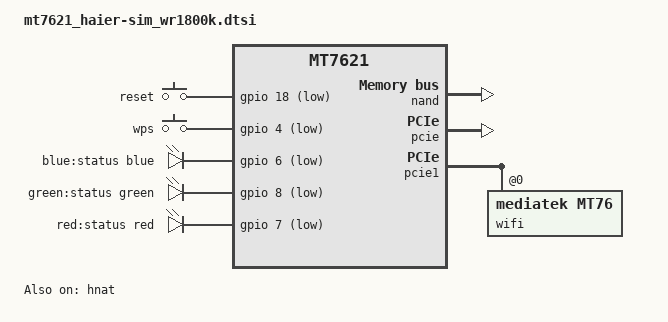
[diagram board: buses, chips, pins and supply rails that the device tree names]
// SPDX-License-Identifier: GPL-2.0-or-later OR MIT

#include "mt7621.dtsi"

#include <dt-bindings/gpio/gpio.h>
#include <dt-bindings/input/input.h>
#include <dt-bindings/leds/common.h>

/ {
	aliases {
		label-mac-device = &gmac1;
		led-boot = &led_status_red;
		led-failsafe = &led_status_blue;
		led-running = &led_status_green;
		led-upgrade = &led_status_blue;
	};

	chosen {
		bootargs = "console=ttyS0,115200";
		bootargs-override = "console=ttyS0,115200";
	};

	keys {
		compatible = "gpio-keys";

		reset {
			label = "reset";
			gpios = <&gpio 18 GPIO_ACTIVE_LOW>;
			linux,code = <KEY_RESTART>;
		};

		wps {
			label = "wps";
			gpios = <&gpio 4 GPIO_ACTIVE_LOW>;
			linux,code = <KEY_WPS_BUTTON>;
		};
	};

	leds {
		compatible = "gpio-leds";

		led_status_blue: led-0 {
			label = "blue:status";
			color = <LED_COLOR_ID_BLUE>;
			function = LED_FUNCTION_STATUS;
			gpios = <&gpio 6 GPIO_ACTIVE_LOW>;
		};

		led_status_green: led-1 {
			label = "green:status";
			color = <LED_COLOR_ID_GREEN>;
			function = LED_FUNCTION_STATUS;
			gpios = <&gpio 8 GPIO_ACTIVE_LOW>;
		};

		led_status_red: led-2 {
			label = "red:status";
			color = <LED_COLOR_ID_RED>;
			function = LED_FUNCTION_STATUS;
			gpios = <&gpio 7 GPIO_ACTIVE_LOW>;
		};
	};
};

&nand {
	status = "okay";

	partitions {
		compatible = "fixed-partitions";
		#address-cells = <1>;
		#size-cells = <1>;

		partition@0 {
			label = "u-boot";
			reg = <0x0000000 0x0080000>;
			read-only;
		};

		partition@80000 {
			label = "u-boot-env";
			reg = <0x0080000 0x0080000>;
		};

		factory: partition@100000 {
			label = "factory";
			reg = <0x0100000 0x0080000>;
			read-only;

			compatible = "nvmem-cells";
			#address-cells = <1>;
			#size-cells = <1>;

			macaddr_factory_8004: macaddr@8004 {
				reg = <0x8004 0x6>;
			};
		};

		partition@180000 {
			label = "firmware";
			reg = <0x0180000 0x7a80000>;

			compatible = "fixed-partitions";
			#address-cells = <1>;
			#size-cells = <1>;

			partition@0 {
				label = "kernel";
				reg = <0x0000000 0x0400000>;
			};

			partition@400000 {
				label = "ubi";
				reg = <0x0400000 0x7680000>;
			};
		};

		/* last 128KiB *32 is reserved for bad blocks management */
	};
};

&pcie {
	status = "okay";
};

&pcie1 {
	wifi@0,0 {
		compatible = "mediatek,mt76";
		reg = <0x0000 0 0 0 0>;
		mediatek,mtd-eeprom = <&factory 0x0>;
	};
};

&pcie2 {
	status = "disabled";
};

&gmac0 {
	nvmem-cells = <&macaddr_factory_8004>;
	nvmem-cell-names = "mac-address";
};

&gmac1 {
	nvmem-cells = <&macaddr_factory_8004>;
	nvmem-cell-names = "mac-address";
	mac-address-increment = <(-3)>;
};

&gsw {
	mediatek,mdio = <&mdio>;
	mediatek,portmap = "llllw";
	mediatek,mcm;
	mt7530,direct-phy-access;

	resets = <&rstctrl 2>;
	reset-names = "mcm";

	port5: port@5 {
		compatible = "mediatek,mt753x-port";
		reg = <5>;
		phy-mode = "rgmii";
		fixed-link {
			speed = <1000>;
			full-duplex;
		};
	};

	port6: port@6 {
		compatible = "mediatek,mt753x-port";
		reg = <6>;
		phy-mode = "rgmii";
		fixed-link {
			speed = <1000>;
			full-duplex;
		};
	};

	mdio-bus {
		#address-cells = <1>;
		#size-cells = <0>;
	};
};

&switch0 {
	/* must delete compatible property */
	/delete-property/ compatible;
};

&hnat {
        mtketh-wan = "eth1";
        mtketh-ppd = "eth0";
        mtketh-lan = "eth0";
	ext-devices = "wlan0","wlan1","rax0","ra0", "rai0","apclii0","apclix0", "apcli0";
        mtketh-max-gmac = <2>;
        status = "okay";
};

&state_default {
	gpio {
		groups = "i2c", "uart3", "wdt";
		function = "gpio";
	};
};

&xhci {
	status = "disabled";
};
